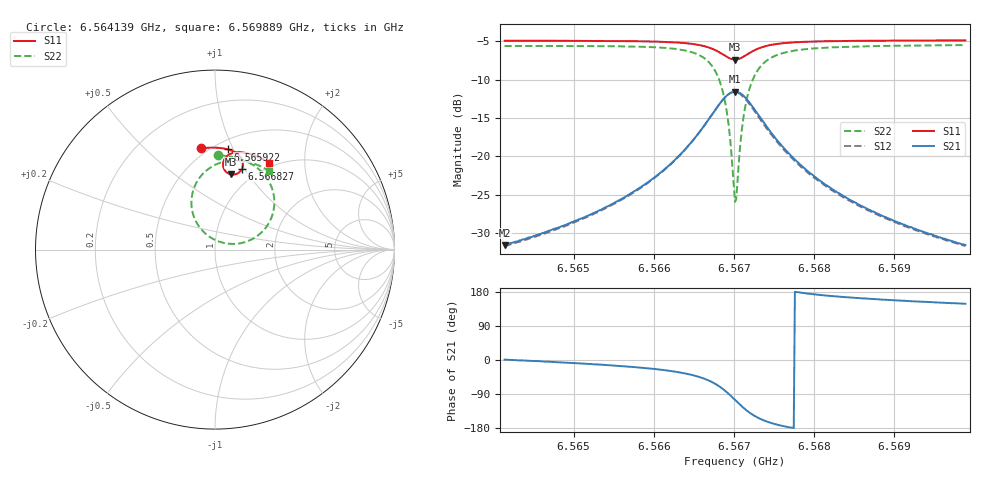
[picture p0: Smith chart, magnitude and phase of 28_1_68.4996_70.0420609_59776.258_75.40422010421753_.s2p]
#  HZ  S  RI  R  50.00
! Rohde & Schwarz Vector Network Analyzer
! Rohde-Schwarz,ZNB20-2Port,1311601062101988,3.16
! Created: UTC 3/20/2024, 5:04:57 PM
! freq[Hz]  re:S11  im:S11  re:S21  im:S21  re:S12  im:S12  re:S22  im:S22
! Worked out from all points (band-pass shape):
!   401 points, 6.564139 GHz to 6.569889 GHz, reference 50 ohm
!   highest |S21| = -11.53 dB at 6.567014 GHz (marker M1); lowest = -31.6 dB at 6.564139 GHz (marker M2)
!   |S21| within 3 dB of the highest: 6.566728 GHz to 6.567302 GHz (574.5 kHz wide, 0.00875 % of centre)
!   lowest |S11| = -7.4 dB at 6.567014 GHz (marker M3), VSWR 2.50, Z = 40.6 + j41.6 ohm
!   |S11| at or under -10 dB: nowhere
!   |S22| runs from -25.9 to -5.5 dB; largest |S21 - S12| = 0.012
!   S11 on the Smith chart (normalised r, x): 6.564139 GHz: 0.46, +0.76; 6.565922 GHz: 0.58, +0.95; 6.566827 GHz: 0.84, +0.97; 6.569889 GHz: 0.93, +1.34
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6.5641394e9  -0.0796 0.5635  0.0264 0.000452  0.026 -6.87e-05  0.0194 0.5248
6.5651024e9  -0.0016 0.5679  0.0389 -0.00647  0.0383 -0.00697  0.1079 0.5139
6.5659217e9  0.0726 0.5581  0.0627 -0.0249  0.0618 -0.0257  0.2072 0.4746
6.5660654e9  0.0873 0.5535  0.0697 -0.0325  0.0687 -0.0334  0.2299 0.4595
6.5663673e9  0.1208 0.5367  0.0888 -0.061  0.0873 -0.0621  0.2853 0.4033
6.5665829e9  0.1453 0.5109  0.1025 -0.1053  0.1003 -0.1074  0.3245 0.3173
6.5667266e9  0.1554 0.48  0.0987 -0.1591  0.0949 -0.162  0.3255 0.2147
6.5668272e9  0.1504 0.4507  0.0727 -0.2099  0.0663 -0.2125  0.2809 0.1195
6.5669134e9  0.1299 0.4266  0.0208 -0.249  0.0113 -0.2497  0.1864 0.0487
6.5669422e9  0.1194 0.4213  -0.00316 -0.2569  -0.0134 -0.2561  0.1434 0.0357
6.5669997e9  0.095 0.418  -0.0562 -0.2586  -0.0669 -0.2543  0.0492 0.037
6.5670141e9  0.0886 0.4189  -0.0697 -0.2557  -0.08 -0.2504  0.0258 0.0434
6.5670428e9  0.0766 0.4228  -0.0951 -0.2459  -0.1047 -0.239  -0.0178 0.0632
6.5671003e9  0.0574 0.4379  -0.1368 -0.2141  -0.1436 -0.2044  -0.0856 0.1241
6.5671434e9  0.0486 0.4526  -0.157 -0.1843  -0.1613 -0.1739  -0.1161 0.1791
6.5672009e9  0.0447 0.473  -0.1698 -0.1441  -0.1711 -0.1342  -0.1313 0.2505
6.5672728e9  0.0487 0.495  -0.1696 -0.101  -0.1686 -0.0928  -0.1229 0.325
6.5675315e9  0.0876 0.5341  -0.1271 -0.0219  -0.1244 -0.0184  -0.0268 0.4565
6.5679771e9  0.1462 0.5421  -0.0755 0.00807  -0.0737 0.00933  0.0943 0.4968
6.5684083e9  0.1887 0.5346  -0.0519 0.0133  -0.0507 0.0138  0.1634 0.4926
6.5689401e9  0.2331 0.5194  -0.0365 0.0145  -0.0356 0.0147  0.2237 0.4766
6.5698888e9  0.3018 0.4846  -0.0225 0.0139  -0.0221 0.0139  0.3032 0.4379
